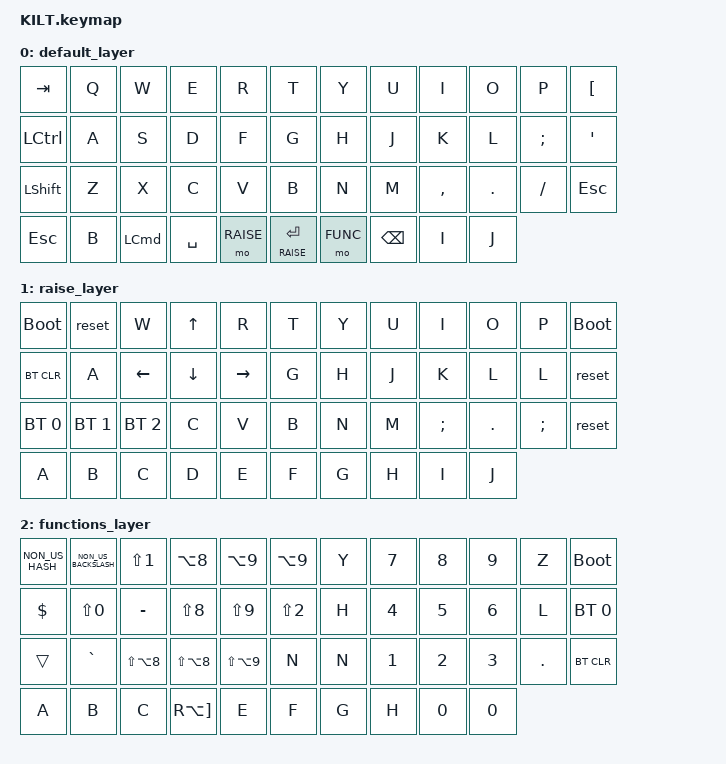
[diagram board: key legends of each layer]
#include <behaviors.dtsi>
#include <dt-bindings/zmk/keys.h>
#include <dt-bindings/zmk/bt.h>

#define DEFAULT 0
#define RAISE   1
#define FUNC   2
 
/ {
        keymap {
                compatible = "zmk,keymap";

                default_layer {
                        bindings = <
            &kp TAB    &kp Q &kp W    &kp E     &kp R     &kp T         &kp Y    &kp U         &kp I     &kp O      &kp P         &kp LBKT
            &kp LCTRL  &kp A &kp S    &kp D     &kp F     &kp G         &kp H    &kp J         &kp K     &kp L      &kp SEMICOLON &kp SQT
            &kp LSHIFT &kp Z &kp X    &kp C     &kp V     &kp B         &kp N    &kp M         &kp COMMA &kp PERIOD &kp FSLH      &kp ESC
            &kp ESC    &kp B &kp LCMD &kp SPACE &mo RAISE &lt RAISE RET &mo FUNC &kp BACKSPACE &kp I     &kp J
                        >;
                };
                raise_layer {
                        bindings = <
            &bootloader  &reset       &kp W        &kp UP   &kp R     &kp T &kp Y &kp U &kp I    &kp O      &kp P    &bootloader
            &bt BT_CLR   &kp A        &kp LEFT     &kp DOWN &kp RIGHT &kp G &kp H &kp J &kp K    &kp L      &kp L    &reset
            &bt BT_SEL 0 &bt BT_SEL 1 &bt BT_SEL 2 &kp C    &kp V     &kp B &kp N &kp M &kp SEMI &kp PERIOD &kp SEMI &reset
                         &kp A        &kp B        &kp C    &kp D     &kp E &kp F &kp G &kp H    &kp I      &kp J
                    >;
                };
                functions_layer {
                        bindings = <
            &kp NON_US_HASH &kp NON_US_BACKSLASH &kp LS(N1)     &kp LA(N8)     &kp LA(N9)     &kp LA(N9) &kp Y  &kp N7 &kp N8 &kp N9     &kp Z      &bootloader
            &kp DOLLAR      &kp LS(N0)           &kp MINUS      &kp LS(N8)     &kp LS(N9)     &kp LS(N2) &kp H  &kp N4 &kp N5 &kp N6     &kp L      &bt BT_SEL 0
            &trans          &kp GRAVE            &kp LS(LA(N8)) &kp LS(LA(N8)) &kp LS(LA(N9)) &kp N      &kp N  &kp N1 &kp N2 &kp N3     &kp PERIOD &bt BT_CLR
                            &kp A                &kp B          &kp C          &kp RA(RBKT)   &kp E      &kp F  &kp G  &kp H  &kp N0     &kp 0
                    >;
                };
        };
};
